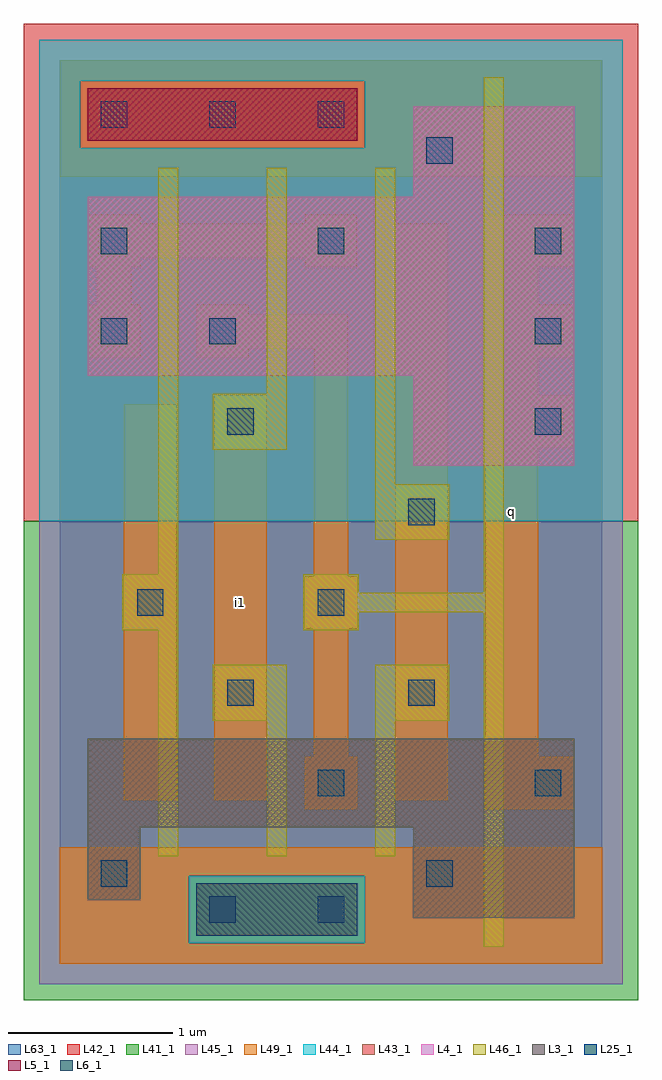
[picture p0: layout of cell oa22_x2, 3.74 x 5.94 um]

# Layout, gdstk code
import gdstk
lib = gdstk.Library(unit=1e-6, precision=1e-09)
def R(c, l, rs):  # rectangles x0, y0, x1, y1
    for r in rs: c.add(gdstk.rectangle(r[:2], r[2:], *l))
def A(c, l, x, y, w, h, nx, ny, dx, dy):  # array of equal rectangles
    R(c, l, [(x+i*dx, y+j*dy, x+i*dx+w, y+j*dy+h) for i in range(nx) for j in range(ny)])
L3_1 = (3, 1)
L4_1 = (4, 1)
L5_1 = (5, 1)
L6_1 = (6, 1)
L25_1 = (25, 1)
L41_1 = (41, 1)
L42_1 = (42, 1)
L43_1 = (43, 1)
L44_1 = (44, 1)
L45_1 = (45, 1)
L46_1 = (46, 1)
L49_1 = (49, 1)
L63_1 = (63, 1)

oa22_x2 = lib.new_cell('oa22_x2')
R(oa22_x2, L3_1, [(2.15,0.28,3.13,0.83), (0.17,0.39,0.49,0.83), (0.17,0.83,3.13,1.37)])
R(oa22_x2, L4_1, [(2.15,3.03,3.13,3.58), (0.17,3.58,3.13,4.67), (2.15,4.67,3.13,5.22)])
R(oa22_x2, L5_1, [(0.17,5.01,1.81,5.33)])
R(oa22_x2, L6_1, [(0.83,0.17,1.81,0.49)])
A(oa22_x2, L25_1, 0.25, 4.32, 0.16, 0.16, 3, 1, 1.32, 0)
A(oa22_x2, L25_1, 0.25, 5.09, 0.16, 0.16, 3, 1, 0.66, 0)
R(oa22_x2, L25_1, [(0.91,0.25,1.07,0.41), (1.57,0.25,1.73,0.41), (0.25,0.47,0.41,0.63), (2.23,0.47,2.39,0.63), (1.57,1.02,1.73,1.18), (2.89,1.02,3.05,1.18), (1.02,1.57,1.18,1.73), (2.12,1.57,2.28,1.73), (0.47,2.12,0.63,2.28), (1.57,2.12,1.73,2.28), (2.12,2.67,2.28,2.83), (1.02,3.22,1.18,3.38), (2.89,3.22,3.05,3.38), (0.25,3.77,0.41,3.93), (0.91,3.77,1.07,3.93), (2.89,3.77,3.05,3.93), (2.23,4.87,2.39,5.03)])
R(oa22_x2, L41_1, [(-0.22,-0.22,3.52,2.695)])
R(oa22_x2, L42_1, [(-0.22,2.695,3.52,5.72)])
R(oa22_x2, L43_1, [(0.83,0.17,1.81,0.49), (2.15,0.28,3.13,0.83), (0.17,0.39,0.49,0.83), (0.17,0.83,3.13,1.37), (2.15,3.03,3.13,3.58), (0.17,3.58,3.13,4.67), (2.15,4.67,3.13,5.22), (0.17,5.01,1.81,5.33)])
R(oa22_x2, L44_1, [(0.785,0.125,1.855,0.535), (-0.125,2.695,3.425,4.965), (-0.125,4.965,0.125,5.375), (1.855,4.965,3.425,5.375), (-0.125,5.375,3.425,5.625)])
R(oa22_x2, L45_1, [(-0.125,-0.125,3.425,0.125), (-0.125,0.125,0.785,0.535), (1.855,0.125,3.425,0.535), (-0.125,0.535,3.425,2.695), (0.125,4.965,1.855,5.375)])
R(oa22_x2, L46_1, [(2.58,0.105,2.7,2.14), (0.6,0.655,0.72,2.03), (1.26,0.655,1.38,1.48), (1.92,0.655,2.04,1.48), (0.93,1.48,1.38,1.82), (1.92,1.48,2.37,1.82), (0.38,2.03,0.72,2.37), (1.48,2.03,1.82,2.14), (1.48,2.14,2.7,2.26), (1.48,2.26,1.82,2.37), (2.58,2.26,2.7,5.395), (0.6,2.37,0.72,4.845), (1.92,2.58,2.37,2.92), (1.92,2.92,2.04,4.845), (0.93,3.13,1.38,3.47), (1.26,3.47,1.38,4.845)])
A(oa22_x2, L49_1, 2.59, 3.14, 0.54, 0.32, 1, 3, 0, 0.55)
R(oa22_x2, L49_1, [(0,0,3.3,0.71), (1.49,0.94,1.81,1.26), (2.59,0.94,3.13,1.26), (0.39,0.995,0.71,3.405), (0.94,0.995,1.26,3.46), (2.04,0.995,2.36,4.505), (1.545,1.26,1.755,2.04), (2.59,1.26,2.91,3.14), (1.49,2.04,1.81,2.36), (1.545,2.36,1.755,3.745), (2.59,3.46,2.91,3.69), (0.17,3.69,0.49,4.01), (0.83,3.69,1.15,3.745), (0.83,3.745,1.755,3.955), (0.83,3.955,1.15,4.01), (0.225,4.01,0.435,4.24), (2.59,4.01,2.91,4.24), (0.17,4.24,0.49,4.295), (1.49,4.24,1.81,4.295), (0.17,4.295,1.81,4.505), (0.17,4.505,0.49,4.56), (1.49,4.505,1.81,4.56), (0,4.79,3.3,5.5)])
R(oa22_x2, L63_1, [(0,0,3.3,5.5)])
oa22_x2.add(gdstk.Label('i1', (1.1,2.2), layer=49, texttype=1))
oa22_x2.add(gdstk.Label('i1', (1.1,2.2), layer=49, texttype=1))
oa22_x2.add(gdstk.Label('q', (2.75,2.75), layer=49, texttype=1))
oa22_x2.add(gdstk.Label('q', (2.75,2.75), layer=49, texttype=1))

lib.write_gds('oa22_x2.gds')
